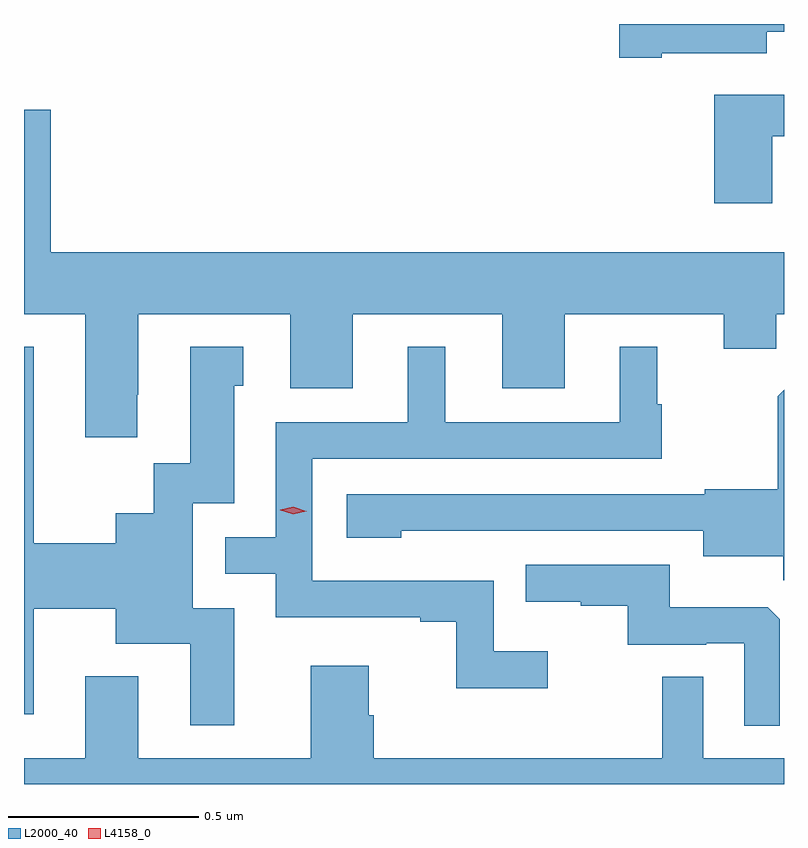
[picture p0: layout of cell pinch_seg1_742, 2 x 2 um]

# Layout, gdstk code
import gdstk
lib = gdstk.Library(unit=1e-6, precision=1e-09)
def P(c, l, *ps):  # polygons
    for p in ps: c.add(gdstk.Polygon(p, *l))
L2000_40 = (2000, 40)
L4158_0 = (4158, 0)

pinch_seg1_742 = lib.new_cell('pinch_seg1_742')
P(pinch_seg1_742, L2000_40, [(670.276,531.107),(670.552,531.107),(670.552,531.164),(670.598,531.164),(670.598,531.184),(670.164,531.184),(670.164,531.095),(670.276,531.095)],
  [(670.567,530.889),(670.598,530.889),(670.598,530.998),(670.415,530.998),(670.415,530.712),(670.567,530.712)],
  [(668.896,530.209),(668.899,530.209),(668.899,530.42),(669.299,530.42),(669.299,530.226),(669.463,530.226),(669.463,530.42),(669.857,530.42),(669.857,530.226),(670.021,530.226),(670.021,530.42),(670.439,530.42),(670.439,530.33),(670.577,530.33),(670.577,530.42),(670.598,530.42),(670.598,530.584),(668.668,530.584),(668.668,530.959),(668.598,530.959),(668.598,530.42),(668.759,530.42),(668.759,530.097),(668.896,530.097)],
  [(669.976,529.534),(669.834,529.534),(669.834,529.719),(669.357,529.719),(669.357,530.04),(670.276,530.04),(670.276,530.184),(670.264,530.184),(670.264,530.335),(670.166,530.335),(670.166,530.136),(669.706,530.136),(669.706,530.335),(669.608,530.335),(669.608,530.136),(669.261,530.136),(669.261,529.833),(669.128,529.833),(669.128,529.737),(669.261,529.737),(669.261,529.623),(669.641,529.623),(669.641,529.611),(669.736,529.611),(669.736,529.436),(669.976,529.436)],
  [(669.151,529.647),(669.042,529.647),(669.042,529.923),(669.151,529.923),(669.151,530.232),(669.175,530.232),(669.175,530.335),(669.035,530.335),(669.035,530.028),(668.939,530.028),(668.939,529.897),(668.84,529.897),(668.84,529.817),(668.623,529.817),(668.623,530.335),(668.598,530.335),(668.598,529.368),(668.623,529.368),(668.623,529.645),(668.84,529.645),(668.84,529.553),(669.035,529.553),(669.035,529.338),(669.151,529.338)],
  [(670.598,530.222),(670.581,530.205),(670.581,529.96),(670.389,529.96),(670.389,529.947),(669.447,529.947),(669.447,529.832),(669.591,529.832),(669.591,529.85),(669.827,529.85),(669.827,529.851),(670.385,529.851),(670.385,529.784),(670.596,529.784),(670.596,529.72),(670.598,529.72)],
  [(670.587,529.617),(670.555,529.649),(670.297,529.649),(670.297,529.761),(669.919,529.761),(669.919,529.664),(670.063,529.664),(670.063,529.653),(670.187,529.653),(670.187,529.551),(670.394,529.551),(670.394,529.554),(670.494,529.554),(670.494,529.337),(670.587,529.337)],
  [(670.598,529.252),(670.386,529.252),(670.386,529.466),(670.278,529.466),(670.278,529.252),(669.518,529.252),(669.518,529.365),(669.505,529.365),(669.505,529.495),(669.353,529.495),(669.353,529.252),(668.899,529.252),(668.899,529.468),(668.759,529.468),(668.759,529.252),(668.598,529.252),(668.598,529.184),(670.598,529.184)])
P(pinch_seg1_742, L4158_0, [(669.306,529.894),(669.272,529.905),(669.272,529.905),(669.272,529.906),(669.307,529.913),(669.341,529.902),(669.342,529.902),(669.341,529.902)])

lib.write_gds('pinch_seg1_742.gds')
